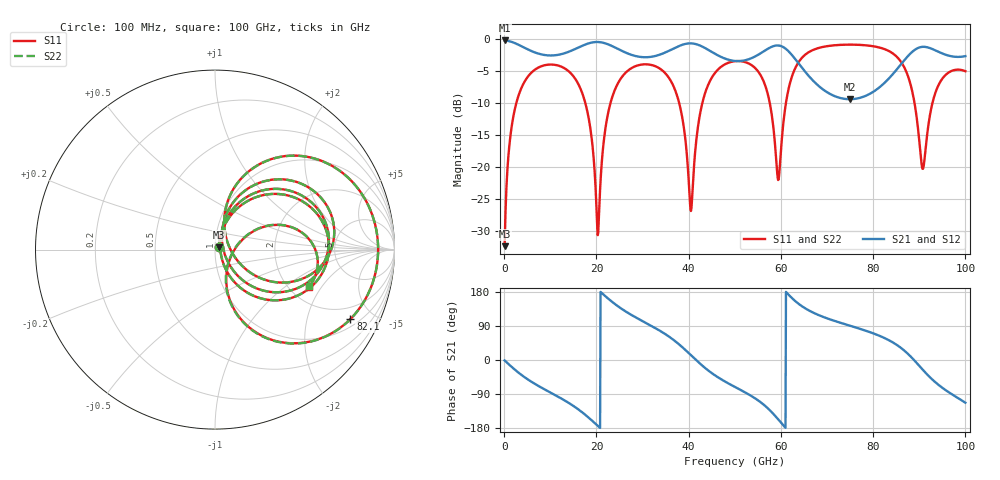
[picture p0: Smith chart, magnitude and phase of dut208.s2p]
! Touchstone file exported from HFSS 2026.1.0
!  File:  C:/ffzhzh/LocalFiles/Ansys_Project_Files/temp_train_TSV_RDL_208_1783660212_33328.aedt
!  Generated:  01:18:16 PM Jul 10, 2026
!  Design:  TSV_RDL
!  Project:  temp_train_TSV_RDL_208_1783660212_33328
! Variables:
!  h_bsmrdl = 4.93um
!  h_ox = 20um
!  h_rdl = 5um
!  h_sub = 67.84um
!  h_tmrdl = 3.73um
!  h_tsv = 67.84um
!  h_via = 3um
!  l_bsmrdl = 167.32um
!  l_sub = 2862.57um
!  l_tmrdl = 473.09um
!  m_sub = 200um
!  pitch = 48.78um
!  r_tsv = 8.15um
!  s_tmrdl = 10um
!  w_bsmrdl = 11.2um
!  w_sub = 500um
!  w_tmrdl = 11.55um
!  x_tsv_center1 = 478.865um
!  x_tsv_center2 = 657.385um
!  x_tsv_center3 = 1142.025um
!  x_tsv_center4 = 1320.545um
!  x_tsv_center5 = 1805.185um
!  x_tsv_center6 = 1983.705um
# GHz S MA R 50.000000
! Terminal data exported
! Port[1] = TM_RDL1_1_T1
! Port[2] = TM_RDL5_1_T1
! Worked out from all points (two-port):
!   1000 points, 100 MHz to 100 GHz, reference 50 ohm
!   highest |S21| = -0.18 dB at 100 MHz (marker M1); lowest = -9.4 dB at 74.9 GHz (marker M2)
!   |S21| within 3 dB of the highest: start of sweep to 48.58 GHz; 86.87 GHz to end of sweep (the widest 2 of 3)
!   lowest |S11| = -32.3 dB at 100 MHz (marker M3), VSWR 1.05, Z = 52.1 + j1.38 ohm
!   |S11| at or under -10 dB: 17.61 GHz to 23.04 GHz (5.424 GHz wide, 26.7 % of centre); 37.96 GHz to 42.95 GHz (4.991 GHz wide, 12.3 % of centre); 88.98 GHz to 92.84 GHz (3.858 GHz wide, 4.24 % of centre) (the widest 3 of 5)
!   |S22| runs from -32.3 to -0.8 dB; largest |S21 - S12| = 1.6e-13
!   S11 on the Smith chart (normalised r, x): 100 MHz: 1.04, +0.03; 82.1 GHz: 1.34, -3.68; 100 GHz: 2.54, -1.53
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0.1  0.02422 33.1  0.9799 -1.2  0.9799 -1.2  0.02422 33.1
! Gamma 0 0 0 0
! Port Impedance 50 0 50 0
1.6  0.2048 65.6  0.9557 -17.9  0.9557 -17.9  0.2048 65.6
4.5  0.472 41.0  0.8564 -46.0  0.8564 -46.0  0.472 41.0
10.7  0.6339 -1.5  0.749 -90.2  0.749 -90.2  0.6339 -1.5
16.8  0.3908 -45.0  0.8858 -136.9  0.8858 -136.9  0.3908 -45.1
20.3  0.02953 -0.4  0.953 -173.7  0.953 -173.7  0.0294 -0.4
24.1  0.4107 52.5  0.8615 146.9  0.8615 146.9  0.4107 52.5
33.4  0.6012 -9.6  0.752 79.9  0.752 79.9  0.6012 -9.6
37.9  0.3226 -42.6  0.8862 41.5  0.8862 41.5  0.3227 -42.5
40.5  0.04558 13.4  0.9299 12.7  0.9299 12.7  0.04613 13.3
43.6  0.3832 61.9  0.8536 -21.4  0.8536 -21.4  0.3832 61.8
50.1  0.675 17.6  0.6774 -71.5  0.6774 -71.5  0.6751 17.5
56.3  0.4653 -22.6  0.8068 -118.2  0.8068 -118.2  0.4654 -22.7
59.4  0.07956 17.0  0.8952 -156.4  0.8952 -156.4  0.07958 16.9
62.1  0.4728 66.8  0.7756 166.9  0.7756 166.9  0.4727 66.7
66.7  0.8176 33.1  0.487 126.8  0.487 126.8  0.8176 33.0
74.9  0.9089 0.4  0.3406 90.8  0.3406 90.8  0.9089 0.3
82.1  0.8476 -27.2  0.4443 60.0  0.4443 60.0  0.8475 -27.3
83.4  0.8106 -34.0  0.4939 52.3  0.4939 52.3  0.8105 -34.1
90.8  0.0973 -19.5  0.8741 -26.2  0.8741 -26.2  0.09495 -19.5
94.1  0.4334 17.2  0.801 -64.9  0.801 -64.9  0.433 17.4
100  0.5632 -21.4  0.7392 -112.7  0.7392 -112.7  0.5631 -21.4
